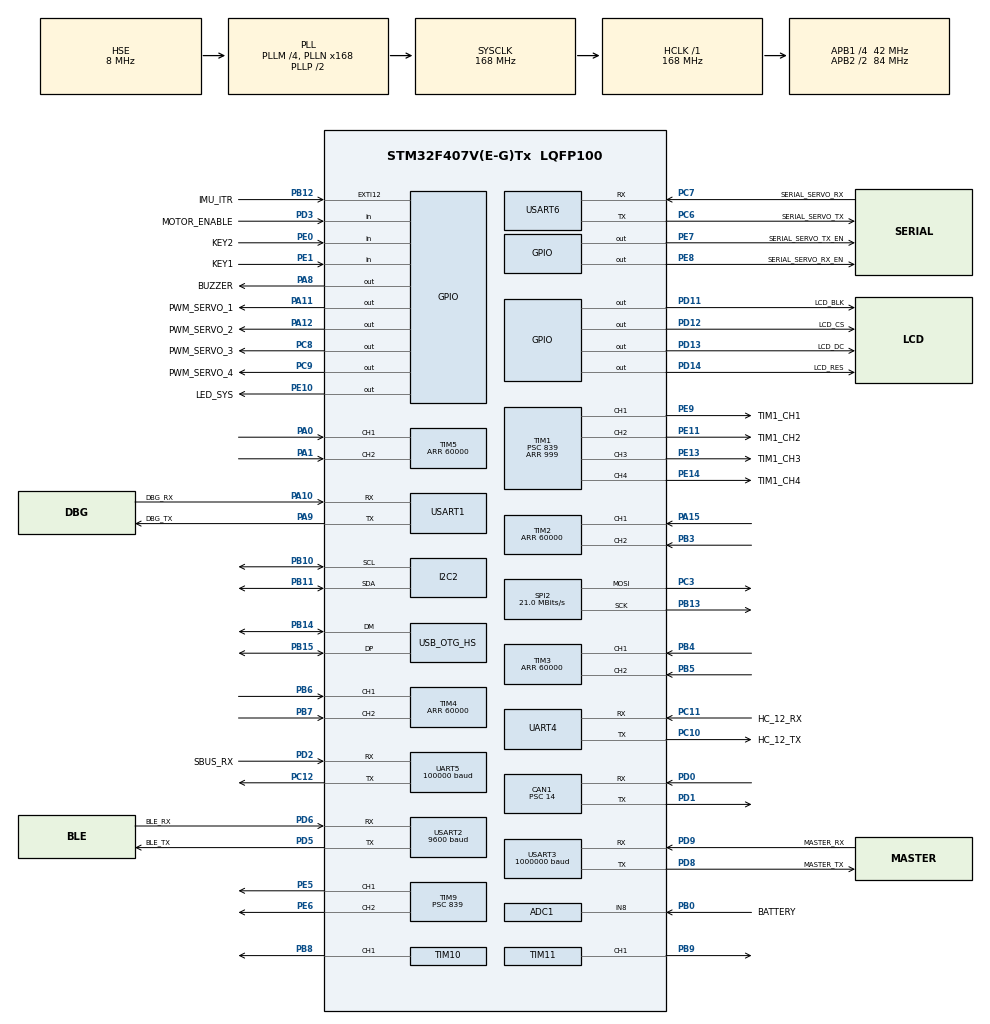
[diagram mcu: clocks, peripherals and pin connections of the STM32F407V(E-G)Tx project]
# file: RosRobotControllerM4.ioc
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ADC1.Channel-4\#ChannelRegularConversion=ADC_CHANNEL_VREFINT
ADC1.Channel-5\#ChannelRegularConversion=ADC_CHANNEL_8
ADC1.ClockPrescaler=ADC_CLOCK_SYNC_PCLK_DIV8
ADC1.ContinuousConvMode=DISABLE
ADC1.EOCSelection=ADC_EOC_SEQ_CONV
ADC1.NbrOfConversion=2
ADC1.NbrOfConversionFlag=1
ADC1.Rank-4\#ChannelRegularConversion=1
ADC1.Rank-5\#ChannelRegularConversion=2
ADC1.SamplingTime-4\#ChannelRegularConversion=ADC_SAMPLETIME_480CYCLES
ADC1.SamplingTime-5\#ChannelRegularConversion=ADC_SAMPLETIME_480CYCLES
ADC1.master=1
CAN1.BS1=CAN_BS1_2TQ
CAN1.BS2=CAN_BS2_3TQ
CAN1.CalculateBaudRate=499999
CAN1.CalculateTimeBit=2000
CAN1.CalculateTimeQuantum=333.33333333333337
CAN1.Prescaler=14
CAN1.SJW=CAN_SJW_2TQ
Dma.ADC1.8.Direction=DMA_PERIPH_TO_MEMORY
Dma.ADC1.8.FIFOMode=DMA_FIFOMODE_DISABLE
Dma.ADC1.8.Instance=DMA2_Stream0
Dma.ADC1.8.MemDataAlignment=DMA_MDATAALIGN_HALFWORD
Dma.ADC1.8.MemInc=DMA_MINC_ENABLE
Dma.ADC1.8.Mode=DMA_CIRCULAR
Dma.ADC1.8.PeriphDataAlignment=DMA_PDATAALIGN_HALFWORD
Dma.ADC1.8.PeriphInc=DMA_PINC_DISABLE
Dma.ADC1.8.Priority=DMA_PRIORITY_LOW
Dma.I2C2_RX.0.Direction=DMA_PERIPH_TO_MEMORY
Dma.I2C2_RX.0.FIFOMode=DMA_FIFOMODE_DISABLE
Dma.I2C2_RX.0.Instance=DMA1_Stream2
Dma.I2C2_RX.0.MemDataAlignment=DMA_MDATAALIGN_BYTE
Dma.I2C2_RX.0.MemInc=DMA_MINC_ENABLE
Dma.I2C2_RX.0.Mode=DMA_NORMAL
Dma.I2C2_RX.0.PeriphDataAlignment=DMA_PDATAALIGN_BYTE
Dma.I2C2_RX.0.PeriphInc=DMA_PINC_DISABLE
Dma.I2C2_RX.0.Priority=DMA_PRIORITY_VERY_HIGH
Dma.I2C2_TX.1.Direction=DMA_MEMORY_TO_PERIPH
Dma.I2C2_TX.1.FIFOMode=DMA_FIFOMODE_DISABLE
Dma.I2C2_TX.1.Instance=DMA1_Stream7
Dma.I2C2_TX.1.MemDataAlignment=DMA_MDATAALIGN_BYTE
Dma.I2C2_TX.1.MemInc=DMA_MINC_ENABLE
Dma.I2C2_TX.1.Mode=DMA_NORMAL
Dma.I2C2_TX.1.PeriphDataAlignment=DMA_PDATAALIGN_BYTE
Dma.I2C2_TX.1.PeriphInc=DMA_PINC_DISABLE
Dma.I2C2_TX.1.Priority=DMA_PRIORITY_VERY_HIGH
Dma.Request0=I2C2_RX
Dma.Request1=I2C2_TX
Dma.Request2=UART5_RX
Dma.Request3=USART3_RX
Dma.Request4=USART3_TX
Dma.Request5=SPI2_TX
Dma.Request6=USART2_RX
Dma.Request7=USART2_TX
Dma.Request8=ADC1
Dma.SPI2_TX.5.Direction=DMA_MEMORY_TO_PERIPH
Dma.SPI2_TX.5.FIFOMode=DMA_FIFOMODE_DISABLE
Dma.SPI2_TX.5.Instance=DMA1_Stream4
Dma.SPI2_TX.5.MemDataAlignment=DMA_MDATAALIGN_BYTE
Dma.SPI2_TX.5.MemInc=DMA_MINC_ENABLE
Dma.SPI2_TX.5.Mode=DMA_NORMAL
Dma.SPI2_TX.5.PeriphDataAlignment=DMA_PDATAALIGN_BYTE
Dma.SPI2_TX.5.PeriphInc=DMA_PINC_DISABLE
Dma.SPI2_TX.5.Priority=DMA_PRIORITY_LOW
Dma.UART5_RX.2.Direction=DMA_PERIPH_TO_MEMORY
Dma.UART5_RX.2.FIFOMode=DMA_FIFOMODE_DISABLE
Dma.UART5_RX.2.Instance=DMA1_Stream0
Dma.UART5_RX.2.MemDataAlignment=DMA_MDATAALIGN_BYTE
Dma.UART5_RX.2.MemInc=DMA_MINC_ENABLE
Dma.UART5_RX.2.Mode=DMA_CIRCULAR
Dma.UART5_RX.2.PeriphDataAlignment=DMA_PDATAALIGN_BYTE
Dma.UART5_RX.2.PeriphInc=DMA_PINC_DISABLE
Dma.UART5_RX.2.Priority=DMA_PRIORITY_MEDIUM
Dma.USART2_RX.6.Direction=DMA_PERIPH_TO_MEMORY
Dma.USART2_RX.6.FIFOMode=DMA_FIFOMODE_DISABLE
Dma.USART2_RX.6.Instance=DMA1_Stream5
Dma.USART2_RX.6.MemDataAlignment=DMA_MDATAALIGN_BYTE
Dma.USART2_RX.6.MemInc=DMA_MINC_ENABLE
Dma.USART2_RX.6.Mode=DMA_NORMAL
Dma.USART2_RX.6.PeriphDataAlignment=DMA_PDATAALIGN_BYTE
Dma.USART2_RX.6.PeriphInc=DMA_PINC_DISABLE
Dma.USART2_RX.6.Priority=DMA_PRIORITY_MEDIUM
Dma.USART2_TX.7.Direction=DMA_MEMORY_TO_PERIPH
Dma.USART2_TX.7.FIFOMode=DMA_FIFOMODE_DISABLE
Dma.USART2_TX.7.Instance=DMA1_Stream6
Dma.USART2_TX.7.MemDataAlignment=DMA_MDATAALIGN_BYTE
Dma.USART2_TX.7.MemInc=DMA_MINC_ENABLE
Dma.USART2_TX.7.Mode=DMA_NORMAL
Dma.USART2_TX.7.PeriphDataAlignment=DMA_PDATAALIGN_BYTE
Dma.USART2_TX.7.PeriphInc=DMA_PINC_DISABLE
Dma.USART2_TX.7.Priority=DMA_PRIORITY_MEDIUM
Dma.USART3_RX.3.Direction=DMA_PERIPH_TO_MEMORY
Dma.USART3_RX.3.FIFOMode=DMA_FIFOMODE_DISABLE
Dma.USART3_RX.3.Instance=DMA1_Stream1
Dma.USART3_RX.3.MemDataAlignment=DMA_MDATAALIGN_BYTE
Dma.USART3_RX.3.MemInc=DMA_MINC_ENABLE
Dma.USART3_RX.3.Mode=DMA_CIRCULAR
Dma.USART3_RX.3.PeriphDataAlignment=DMA_PDATAALIGN_BYTE
Dma.USART3_RX.3.PeriphInc=DMA_PINC_DISABLE
Dma.USART3_RX.3.Priority=DMA_PRIORITY_HIGH
Dma.USART3_TX.4.Direction=DMA_MEMORY_TO_PERIPH
Dma.USART3_TX.4.FIFOMode=DMA_FIFOMODE_DISABLE
Dma.USART3_TX.4.Instance=DMA1_Stream3
Dma.USART3_TX.4.MemDataAlignment=DMA_MDATAALIGN_BYTE
Dma.USART3_TX.4.MemInc=DMA_MINC_ENABLE
Dma.USART3_TX.4.Mode=DMA_NORMAL
Dma.USART3_TX.4.PeriphDataAlignment=DMA_PDATAALIGN_BYTE
Dma.USART3_TX.4.PeriphInc=DMA_PINC_DISABLE
Dma.USART3_TX.4.Priority=DMA_PRIORITY_HIGH
FREERTOS.BinarySemaphores01=packet_tx_idle,Static,packet_tx_ControlBlock;packet_rx_not_empty,Static,packet_rx_not_emptyControlBlock;mpu6050_data_ready,Static,mpu6050_data_readyControlBlock;sbus_data_ready_01_,Static,sbus_data_ready_01_ControlBlock;spi_tx_finished,Static,spi_tx_finishedControlBlock;bluetooth_tx_idle,Static,bluetooth_tx_idleControlBlock
FREERTOS.Events01=sbus_data_ready_event_,Static,sbus_data_ready_event_ControlBlock
FREERTOS.INCLUDE_vTaskCleanUpResources=1
FREERTOS.INCLUDE_xEventGroupSetBitFromISR=1
FREERTOS.Queues01=packet_tx_queue,64,void*,0,Static,packet_tx_queueBuffer,packet_tx_queueControlBlock;lvgl_event_queue,16,void*,0,Static,lvgl_event_queueBuffer,lvgl_event_queueControlBlock;moving_ctrl_queue,32,char,0,Static,moving_ctrl_queueBuffer,moving_ctrl_queueControlBlock;bluetooth_tx_queue,8,8,1,Static,bluetooth_tx_queueBuffer,bluetooth_tx_queueControlBlock
FREERTOS.Tasks01=defaultTask,8,128,StartDefaultTask,Default,NULL,Static,defaultTaskBuffer,defaultTaskControlBlock;imu_task,32,128,imu_task_entry,As weak,NULL,Static,imu_taskBuffer,imu_taskControlBlock;packet_tx_task,24,128,packet_tx_task_entry,As weak,NULL,Static,packet_tx_taskBuffer,packet_tx_taskControlBlock;packet_rx_task,24,256,packet_rx_task_entry,As weak,NULL,Static,packet_rx_taskBuffer,packet_rx_taskControlBlock;sbus_rx_task,24,128,sbus_rx_task_entry,As weak,NULL,Static,sbus_rx_taskBuffer,sbus_rx_taskControlBlock;gui_task,16,512,gui_task_entry,As weak,NULL,Static,gui_taskBuffer,gui_taskControlBlock;app_task,24,512,app_task_entry,As weak,NULL,Static,app_taskBuffer,app_taskControlBlock;bluetooth_task,24,128,bluetooth_task_entry,As weak,NULL,Static,bluetooth_taskBuffer,bluetooth_taskControlBlock
FREERTOS.Timers01=button_timer,button_timer_callback,osTimerPeriodic,As weak,NULL,Static,button_timerControlBlock;led_timer,led_timer_callback,osTimerPeriodic,As weak,NULL,Static,led_timerControlBlock;lvgl_timer,lvgl_timer_callback,osTimerPeriodic,As weak,NULL,Static,lvgl_timerControlBlock;buzzer_timer,buzzer_timer_callback,osTimerPeriodic,As weak,NULL,Static,buzzer_timerControlBlock;battery_check_timer,battery_check_timer_callback,osTimerPeriodic,As weak,NULL,Static,battery_check_timerControlBlock;IMU_read_timer,IMU_read_timer_callback,osTimerPeriodic,As weak,NULL,Static,IMU_read_timerControlBlock
FREERTOS.configENABLE_FPU=1
FREERTOS.configTIMER_QUEUE_LENGTH=10
FREERTOS.configTIMER_TASK_STACK_DEPTH=6144
FREERTOS.configTOTAL_HEAP_SIZE=12288
FREERTOS.configUSE_IDLE_HOOK=1
FREERTOS.configUSE_NEWLIB_REENTRANT=0
FREERTOS.configUSE_TICK_HOOK=1
I2C2.DutyCycle=I2C_DUTYCYCLE_16_9
I2C2.I2C_Mode=I2C_Fast
Mcu.Family=STM32F4
Mcu.Name=STM32F407V(E-G)Tx
Mcu.Package=LQFP100
NVIC.CAN1_RX0_IRQn=true\:5\:0\:false\:false\:true\:true\:true\:true\:true
NVIC.DMA1_Stream0_IRQn=true\:5\:0\:false\:true\:true\:1\:true\:false\:true\:true
NVIC.DMA1_Stream1_IRQn=true\:5\:0\:false\:true\:true\:2\:true\:false\:true\:true
NVIC.DMA1_Stream2_IRQn=true\:5\:0\:false\:true\:true\:3\:true\:false\:true\:true
NVIC.DMA1_Stream3_IRQn=true\:5\:0\:false\:true\:true\:4\:true\:false\:true\:true
NVIC.DMA1_Stream4_IRQn=true\:5\:0\:false\:false\:true\:true\:true\:true\:true
NVIC.DMA1_Stream5_IRQn=true\:5\:0\:false\:false\:true\:true\:true\:true\:true
NVIC.DMA1_Stream6_IRQn=true\:5\:0\:false\:false\:true\:true\:true\:true\:true
NVIC.DMA1_Stream7_IRQn=true\:5\:0\:false\:true\:true\:9\:true\:false\:true\:true
NVIC.EXTI15_10_IRQn=true\:5\:0\:false\:true\:true\:7\:true\:true\:false\:true
NVIC.OTG_HS_IRQn=true\:5\:0\:false\:false\:true\:true\:false\:true\:true
NVIC.PriorityGroup=NVIC_PRIORITYGROUP_4
NVIC.TIM2_IRQn=true\:5\:0\:false\:false\:true\:true\:true\:false\:true
NVIC.TIM3_IRQn=true\:5\:0\:false\:false\:true\:true\:true\:false\:true
NVIC.TIM4_IRQn=true\:5\:0\:false\:false\:true\:true\:true\:false\:true
NVIC.TIM5_IRQn=true\:5\:0\:false\:true\:true\:10\:true\:true\:false\:true
NVIC.TIM7_IRQn=true\:5\:0\:false\:true\:true\:12\:true\:true\:false\:true
NVIC.TIM8_BRK_TIM12_IRQn=true\:5\:0\:false\:false\:true\:true\:true\:false\:true
NVIC.TIM8_TRG_COM_TIM14_IRQn=true\:0\:0\:false\:false\:true\:false\:false\:true\:true
NVIC.TIM8_UP_TIM13_IRQn=true\:5\:0\:false\:true\:true\:8\:true\:true\:false\:true
NVIC.TimeBase=TIM8_TRG_COM_TIM14_IRQn
NVIC.TimeBaseIP=TIM14
NVIC.UART5_IRQn=true\:5\:0\:true\:true\:true\:11\:true\:true\:true\:true
NVIC.USART2_IRQn=true\:5\:0\:false\:true\:true\:5\:true\:true\:true\:true
NVIC.USART3_IRQn=true\:5\:0\:false\:true\:true\:6\:true\:true\:true\:true
NVIC.USART6_IRQn=true\:5\:0\:false\:true\:true\:13\:true\:true\:true\:true
PA0-WKUP.GPIO_PuPd=GPIO_PULLUP
PA0-WKUP.GPIO_Speed=GPIO_SPEED_FREQ_VERY_HIGH
PA0-WKUP.Signal=S_TIM5_CH1
PA1.GPIO_PuPd=GPIO_PULLUP
PA1.GPIO_Speed=GPIO_SPEED_FREQ_VERY_HIGH
PA1.Signal=S_TIM5_CH2
PA10.GPIO_Label=DBG_RX
PA10.Mode=Asynchronous
PA10.Signal=USART1_RX
PA11.GPIO_Label=PWM_SERVO_1
PA11.GPIO_Speed=GPIO_SPEED_FREQ_HIGH
PA11.PinState=GPIO_PIN_RESET
PA11.Signal=GPIO_Output
PA12.GPIO_Label=PWM_SERVO_2
PA12.GPIO_Speed=GPIO_SPEED_FREQ_HIGH
PA12.Signal=GPIO_Output
PA13.Signal=SYS_JTMS-SWDIO
PA14.Signal=SYS_JTCK-SWCLK
PA15.GPIO_PuPd=GPIO_PULLUP
PA15.GPIO_Speed=GPIO_SPEED_FREQ_VERY_HIGH
PA15.Signal=S_TIM2_CH1_ETR
PA8.GPIO_Label=BUZZER
PA8.GPIO_Speed=GPIO_SPEED_FREQ_VERY_HIGH
PA8.PinState=GPIO_PIN_RESET
PA8.Signal=GPIO_Output
PA9.GPIO_Label=DBG_TX
PA9.Mode=Asynchronous
PA9.Signal=USART1_TX
PB0.GPIO_Label=BATTERY
PB0.Signal=ADCx_IN8
PB10.GPIO_Pu=GPIO_PULLUP
PB10.Mode=I2C
PB10.Signal=I2C2_SCL
PB11.GPIO_Pu=GPIO_PULLUP
PB11.Mode=I2C
PB11.Signal=I2C2_SDA
PB12.GPIO_Label=IMU_ITR
PB12.Signal=GPXTI12
PB13.Mode=TX_Only_Simplex_Unidirect_Master
PB13.Signal=SPI2_SCK
PB14.Mode=Host_FS
PB14.Signal=USB_OTG_HS_DM
PB15.Mode=Host_FS
PB15.Signal=USB_OTG_HS_DP
PB3.GPIO_PuPd=GPIO_PULLUP
PB3.GPIO_Speed=GPIO_SPEED_FREQ_VERY_HIGH
PB3.Signal=S_TIM2_CH2
PB4.GPIO_Speed=GPIO_SPEED_FREQ_VERY_HIGH
PB4.Signal=S_TIM3_CH1
PB5.GPIO_Speed=GPIO_SPEED_FREQ_VERY_HIGH
PB5.Signal=S_TIM3_CH2
PB6.Signal=S_TIM4_CH1
PB7.Signal=S_TIM4_CH2
PB8.Signal=S_TIM10_CH1
PB9.GPIO_Speed=GPIO_SPEED_FREQ_HIGH
PB9.Signal=S_TIM11_CH1
PC10.GPIO_Label=HC_12_TX
PC10.Mode=Asynchronous
PC10.Signal=UART4_TX
PC11.GPIO_Label=HC_12_RX
PC11.Mode=Asynchronous
PC11.Signal=UART4_RX
PC12.Mode=Asynchronous
PC12.Signal=UART5_TX
PC3.Mode=TX_Only_Simplex_Unidirect_Master
PC3.Signal=SPI2_MOSI
PC6.GPIO_Label=SERIAL_SERVO_TX
PC6.Mode=Asynchronous
PC6.Signal=USART6_TX
PC7.GPIO_Label=SERIAL_SERVO_RX
PC7.Mode=Asynchronous
PC7.Signal=USART6_RX
PC8.GPIO_Label=PWM_SERVO_3
PC8.GPIO_Speed=GPIO_SPEED_FREQ_HIGH
PC8.PinState=GPIO_PIN_SET
PC8.Signal=GPIO_Output
PC9.GPIO_Label=PWM_SERVO_4
PC9.GPIO_Speed=GPIO_SPEED_FREQ_HIGH
PC9.Signal=GPIO_Output
PD0.GPIO_PuPd=GPIO_PULLUP
PD0.Mode=CAN_Activate
PD0.Signal=CAN1_RX
PD1.Mode=CAN_Activate
PD1.Signal=CAN1_TX
PD11.GPIO_Label=LCD_BLK
PD11.GPIO_Speed=GPIO_SPEED_FREQ_VERY_HIGH
PD11.PinState=GPIO_PIN_SET
PD11.Signal=GPIO_Output
PD12.GPIO_Label=LCD_CS
PD12.GPIO_Speed=GPIO_SPEED_FREQ_VERY_HIGH
PD12.PinState=GPIO_PIN_SET
PD12.Signal=GPIO_Output
PD13.GPIO_Label=LCD_DC
PD13.GPIO_Speed=GPIO_SPEED_FREQ_VERY_HIGH
PD13.Signal=GPIO_Output
PD14.GPIO_Label=LCD_RES
PD14.GPIO_Speed=GPIO_SPEED_FREQ_VERY_HIGH
PD14.PinState=GPIO_PIN_SET
PD14.Signal=GPIO_Output
PD2.GPIO_Label=SBUS_RX
PD2.Mode=Asynchronous
PD2.Signal=UART5_RX
PD3.GPIO_Label=MOTOR_ENABLE
PD3.Signal=GPIO_Input
PD5.GPIO_Label=BLE_TX
PD5.Mode=Asynchronous
PD5.Signal=USART2_TX
PD6.GPIO_Label=BLE_RX
PD6.Mode=Asynchronous
PD6.Signal=USART2_RX
PD8.GPIO_Label=MASTER_TX
PD8.GPIO_PuPd=GPIO_NOPULL
PD8.Mode=Asynchronous
PD8.Signal=USART3_TX
PD9.GPIO_Label=MASTER_RX
PD9.GPIO_PuPd=GPIO_NOPULL
PD9.Mode=Asynchronous
PD9.Signal=USART3_RX
PE0.GPIO_Label=KEY2
PE0.Signal=GPIO_Input
PE1.GPIO_Label=KEY1
PE1.Signal=GPIO_Input
PE10.GPIO_Label=LED_SYS
PE10.GPIO_Speed=GPIO_SPEED_FREQ_MEDIUM
PE10.PinState=GPIO_PIN_SET
PE10.Signal=GPIO_Output
PE11.GPIO_Label=TIM1_CH2
PE11.GPIO_Speed=GPIO_SPEED_FREQ_HIGH
PE11.Signal=S_TIM1_CH2
PE13.GPIO_Label=TIM1_CH3
PE13.GPIO_Speed=GPIO_SPEED_FREQ_HIGH
PE13.Signal=S_TIM1_CH3
PE14.GPIO_Label=TIM1_CH4
PE14.GPIO_Speed=GPIO_SPEED_FREQ_HIGH
PE14.Signal=S_TIM1_CH4
PE5.Signal=S_TIM9_CH1
PE6.Signal=S_TIM9_CH2
PE7.GPIO_Label=SERIAL_SERVO_TX_EN
PE7.GPIO_Speed=GPIO_SPEED_FREQ_VERY_HIGH
PE7.Signal=GPIO_Output
PE8.GPIO_Label=SERIAL_SERVO_RX_EN
PE8.GPIO_Speed=GPIO_SPEED_FREQ_VERY_HIGH
PE8.Signal=GPIO_Output
PE9.GPIO_Label=TIM1_CH1
PE9.GPIO_Speed=GPIO_SPEED_FREQ_HIGH
PE9.Signal=S_TIM1_CH1
PH0-OSC_IN.Mode=HSE-External-Oscillator
PH0-OSC_IN.Signal=RCC_OSC_IN
PH1-OSC_OUT.Mode=HSE-External-Oscillator
PH1-OSC_OUT.Signal=RCC_OSC_OUT
ProjectManager.HeapSize=0x200
ProjectManager.StackSize=0x600
ProjectManager.TargetToolchain=MDK-ARM V5.32
RCC.48MHZClocksFreq_Value=48000000
RCC.AHBFreq_Value=168000000
RCC.APB1CLKDivider=RCC_HCLK_DIV4
RCC.APB1Freq_Value=42000000
RCC.APB1TimFreq_Value=84000000
RCC.APB2CLKDivider=RCC_HCLK_DIV2
RCC.APB2Freq_Value=84000000
RCC.APB2TimFreq_Value=168000000
RCC.CortexFreq_Value=168000000
RCC.EnbaleCSS=true
RCC.HCLKFreq_Value=168000000
RCC.HSE_VALUE=8000000
RCC.HSI_VALUE=16000000
RCC.LSE_VALUE=32768
RCC.PLLM=4
RCC.PLLN=168
RCC.PLLQ=7
RCC.SYSCLKFreq_VALUE=168000000
RCC.SYSCLKSource=RCC_SYSCLKSOURCE_PLLCLK
RCC.VCOOutputFreq_Value=336000000
SH.ADCx_IN8.0=ADC1_IN8,IN8
SH.S_TIM10_CH1.0=TIM10_CH1,PWM Generation1 CH1
SH.S_TIM11_CH1.0=TIM11_CH1,PWM Generation1 CH1
SH.S_TIM1_CH1.0=TIM1_CH1,PWM Generation1 CH1
SH.S_TIM1_CH2.0=TIM1_CH2,PWM Generation2 CH2
SH.S_TIM1_CH3.0=TIM1_CH3,PWM Generation3 CH3
SH.S_TIM1_CH4.0=TIM1_CH4,PWM Generation4 CH4
SH.S_TIM2_CH1_ETR.0=TIM2_CH1,Encoder_Interface
SH.S_TIM2_CH2.0=TIM2_CH2,Encoder_Interface
SH.S_TIM3_CH1.0=TIM3_CH1,Encoder_Interface
SH.S_TIM3_CH2.0=TIM3_CH2,Encoder_Interface
SH.S_TIM4_CH1.0=TIM4_CH1,Encoder_Interface
SH.S_TIM4_CH2.0=TIM4_CH2,Encoder_Interface
SH.S_TIM5_CH1.0=TIM5_CH1,Encoder_Interface
SH.S_TIM5_CH2.0=TIM5_CH2,Encoder_Interface
SH.S_TIM9_CH1.0=TIM9_CH1,PWM Generation1 CH1
SH.S_TIM9_CH2.0=TIM9_CH2,PWM Generation2 CH2
SPI2.BaudRatePrescaler=SPI_BAUDRATEPRESCALER_2
SPI2.CLKPhase=SPI_PHASE_1EDGE
SPI2.CLKPolarity=SPI_POLARITY_LOW
SPI2.CalculateBaudRate=21.0 MBits/s
SPI2.DataSize=SPI_DATASIZE_8BIT
SPI2.Direction=SPI_DIRECTION_2LINES
SPI2.FirstBit=SPI_FIRSTBIT_MSB
SPI2.Mode=SPI_MODE_MASTER
SPI2.VirtualType=VM_MASTER
TIM1.AutoReloadPreload=TIM_AUTORELOAD_PRELOAD_ENABLE
TIM1.Channel-PWM\ Generation1\ CH1=TIM_CHANNEL_1
TIM1.Channel-PWM\ Generation2\ CH2=TIM_CHANNEL_2
TIM1.Channel-PWM\ Generation3\ CH3=TIM_CHANNEL_3
TIM1.Channel-PWM\ Generation4\ CH4=TIM_CHANNEL_4
TIM1.OCFastMode_PWM-PWM\ Generation1\ CH1=TIM_OCFAST_ENABLE
TIM1.OCFastMode_PWM-PWM\ Generation2\ CH2=TIM_OCFAST_ENABLE
TIM1.OCFastMode_PWM-PWM\ Generation3\ CH3=TIM_OCFAST_ENABLE
TIM1.OCFastMode_PWM-PWM\ Generation4\ CH4=TIM_OCFAST_ENABLE
TIM1.Period=999
TIM1.Prescaler=839
TIM1.Pulse-PWM\ Generation1\ CH1=0
TIM1.Pulse-PWM\ Generation2\ CH2=0
TIM1.Pulse-PWM\ Generation3\ CH3=0
TIM1.Pulse-PWM\ Generation4\ CH4=0
TIM10.AutoReloadPreload=TIM_AUTORELOAD_PRELOAD_ENABLE
TIM10.Channel=TIM_CHANNEL_1
TIM10.OCFastMode_PWM=TIM_OCFAST_ENABLE
TIM10.Period=999
TIM10.Prescaler=839
TIM11.AutoReloadPreload=TIM_AUTORELOAD_PRELOAD_ENABLE
TIM11.Channel=TIM_CHANNEL_1
TIM11.OCFastMode_PWM=TIM_OCFAST_ENABLE
TIM11.Period=999
TIM11.Prescaler=839
TIM11.Pulse=0
TIM12.AutoReloadPreload=TIM_AUTORELOAD_PRELOAD_ENABLE
TIM12.Channel-Output\ Compare1\ No\ Output=TIM_CHANNEL_1
TIM12.OC1Preload=ENABLE
TIM12.OCMode_1=TIM_OCMODE_TIMING
TIM12.Period=99
TIM12.Prescaler=839
TIM12.Pulse-Output\ Compare1\ No\ Output=50
TIM13.AutoReloadPreload=TIM_AUTORELOAD_PRELOAD_ENABLE
TIM13.Channel=TIM_CHANNEL_1
TIM13.OC1Preload=DISABLE
TIM13.Period=4999
TIM13.Prescaler=83
TIM13.Pulse=0
TIM2.AutoReloadPreload=TIM_AUTORELOAD_PRELOAD_ENABLE
TIM2.EncoderMode=TIM_ENCODERMODE_TI12
TIM2.Period=60000
TIM3.AutoReloadPreload=TIM_AUTORELOAD_PRELOAD_ENABLE
TIM3.EncoderMode=TIM_ENCODERMODE_TI12
TIM3.Period=60000
TIM4.AutoReloadPreload=TIM_AUTORELOAD_PRELOAD_ENABLE
TIM4.EncoderMode=TIM_ENCODERMODE_TI12
TIM4.Period=60000
TIM5.AutoReloadPreload=TIM_AUTORELOAD_PRELOAD_ENABLE
TIM5.EncoderMode=TIM_ENCODERMODE_TI12
TIM5.Period=60000
TIM7.AutoReloadPreload=TIM_AUTORELOAD_PRELOAD_ENABLE
TIM7.Period=9999
TIM7.Prescaler=83
TIM9.AutoReloadPreload=TIM_AUTORELOAD_PRELOAD_ENABLE
TIM9.Channel-PWM\ Generation1\ CH1=TIM_CHANNEL_1
TIM9.Channel-PWM\ Generation2\ CH2=TIM_CHANNEL_2
TIM9.OCFastMode_PWM-PWM\ Generation1\ CH1=TIM_OCFAST_ENABLE
TIM9.OCFastMode_PWM-PWM\ Generation2\ CH2=TIM_OCFAST_ENABLE
TIM9.Period=999
TIM9.Prescaler=839
UART4.VirtualMode=Asynchronous
UART5.BaudRate=100000
UART5.Mode=MODE_RX
UART5.Parity=PARITY_EVEN
UART5.StopBits=UART_STOPBITS_2
UART5.VirtualMode=Asynchronous
UART5.WordLength=WORDLENGTH_9B
USART1.VirtualMode=VM_ASYNC
USART2.BaudRate=9600
USART2.VirtualMode=VM_ASYNC
USART3.BaudRate=1000000
USART3.VirtualMode=VM_ASYNC
USART6.VirtualMode=VM_ASYNC
USB_HOST.USBH_DEBUG_LEVEL-HID_HS=0
USB_HOST.USBH_HandleTypeDef-HID_HS=hUsbHostHS
USB_HOST.USBH_KEEP_CFG_DESCRIPTOR-HID_HS=1
USB_HOST.USBH_MAX_DATA_BUFFER-HID_HS=512
USB_HOST.USBH_MAX_NUM_CONFIGURATION-HID_HS=2
USB_HOST.USBH_MAX_NUM_ENDPOINTS-HID_HS=2
USB_HOST.USBH_MAX_NUM_INTERFACES-HID_HS=2
USB_HOST.USBH_MAX_NUM_SUPPORTED_CLASS-HID_HS=1
USB_HOST.USBH_MAX_SIZE_CONFIGURATION-HID_HS=512
USB_HOST.USBH_PROCESS_PRIO-HID_HS=osPriorityNormal
USB_HOST.USBH_PROCESS_STACK_SIZE-HID_HS=2048
USB_HOST.VirtualModeHS=Hid
USB_OTG_HS.Sof_enable-Host_FS=DISABLE
USB_OTG_HS.VirtualMode-Host_FS=Host_FS
USB_OTG_HS.dma_enable-Host_FS=DISABLE
VP_ADC1_Vref_Input.Mode=IN-Vrefint
VP_CRC_VS_CRC.Mode=CRC_Activate
VP_FREERTOS_VS_CMSIS_V2.Mode=CMSIS_V2
VP_SYS_VS_tim14.Mode=TIM14
VP_TIM10_VS_ClockSourceINT.Mode=Enable_Timer
VP_TIM11_VS_ClockSourceINT.Mode=Enable_Timer
VP_TIM12_VS_ClockSourceINT.Mode=Internal
VP_TIM12_VS_no_output1.Mode=Output Compare1 No Output
VP_TIM13_VS_ClockSourceINT.Mode=Enable_Timer
VP_TIM13_VS_no_output1.Mode=Output Compare1 No Output
VP_TIM1_VS_ClockSourceINT.Mode=Internal
VP_TIM7_VS_ClockSourceINT.Mode=Enable_Timer
VP_TIM9_VS_ClockSourceINT.Mode=Internal
VP_USB_HOST_VS_USB_HOST_HID_HS.Mode=HID_HS
board=custom

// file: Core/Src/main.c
/* USER CODE BEGIN Header */
/**
  ******************************************************************************
  * @file           : main.c
  * @brief          : Main program body
  ******************************************************************************
  * @attention
  *
  * <h2><center>&copy; Copyright (c) 2023 STMicroelectronics.
  * All rights reserved.</center></h2>
  *
  * This software component is licensed by ST under BSD 3-Clause license,
  * the "License"; You may not use this file except in compliance with the
  * License. You may obtain a copy of the License at:
  *                        opensource.org/licenses/BSD-3-Clause
  *
  * ********************************************
  *   main() function, microcontroller entry function
  *
  *   ! ! ! Notice
  *   This project uses the FreeRTOS system
  *   The user's entry function is in the app_task_entry() thread task in the app.c file in the Hiwonder/System folder.
  *   If you need other thread tasks, you need to create other threads (it is recommended to create them in the STM32CubeMX software)
  *
  *   ! ! ! Notice
  *   In the file created in CubeMX,
  *   The user program and comments need to be written in the middle of the following comments to prevent the user program
  *   from being overwritten after changing the configuration using CubeMX. !!!
  *   (If you do not use CubeMX software, you can skip this step.)
  *
  *   / * USER CODE BEGIN xxx * /
  *   //User Programs
  *   / * USER CODE END xxx * /
  *
  *
  * ********************************************
  *
  ******************************************************************************
  */
/* USER CODE END Header */
#include "main.h"
#include "cmsis_os.h"
#include "adc.h"
#include "can.h"
#include "crc.h"
#include "dma.h"
#include "i2c.h"
#include "spi.h"
#include "tim.h"
#include "usart.h"
#include "usb_host.h"
#include "gpio.h"

/* USER CODE BEGIN Includes */
#include "lwmem_porting.h"
#include "log.h"
#include <stdio.h>
/* USER CODE END Includes */

void SystemClock_Config(void);
void MX_FREERTOS_Init(void);
static void MX_NVIC_Init(void);

int main(void)
{
  /* USER CODE BEGIN 1 */
  //��־��ӡ���ܳ�ʼ��
  LOG_INIT();
  lwmem_assignmem(lwmem_regions);  /* ��̬�ڴ��ʼ�� */
  /* USER CODE END 1 */

  /* MCU Configuration--------------------------------------------------------*/

  /* Reset of all peripherals, Initializes the Flash interface and the Systick. */
  HAL_Init();

  /* Configure the system clock */
  SystemClock_Config();

  /* USER CODE BEGIN SysInit */
    //����IIC1
    __HAL_RCC_I2C1_CLK_ENABLE();
    //����DMA����
    __HAL_RCC_DMA1_CLK_ENABLE();
  /* USER CODE END SysInit */

  /* Initialize all configured peripherals */
  MX_GPIO_Init();
  MX_DMA_Init();
  MX_USART1_UART_Init();
  MX_SPI2_Init();
  MX_TIM1_Init();
  MX_TIM2_Init();
  MX_TIM5_Init();
  MX_TIM9_Init();
  MX_TIM10_Init();
  MX_TIM11_Init();
  MX_I2C2_Init();
  MX_UART5_Init();
  MX_USART2_UART_Init();
  MX_USART3_UART_Init();
  MX_USART6_UART_Init();
  MX_TIM7_Init();
  MX_TIM3_Init();
  MX_TIM4_Init();
  MX_TIM13_Init();
  MX_CRC_Init();
  MX_TIM12_Init();
  MX_ADC1_Init();
  MX_UART4_Init();

  MX_CAN1_Init();

  /* Initialize interrupts */
  MX_NVIC_Init();
  /* USER CODE BEGIN 2 */
  //��ӡ��Ϣ����printf()�������÷�һ�����ܹ����ݵȼ�����������־���
  LOG_DEBUG("Start...\r\n");
  /* USER CODE END 2 */

  /* Init scheduler */
  osKernelInitialize();  /* Call init function for freertos objects (in freertos.c) */
  MX_FREERTOS_Init();

  /* Start scheduler */
  osKernelStart();
  /* We should never get here as control is now taken by the scheduler */
  /* Infinite loop */
    while (1) {

    }
}

void SystemClock_Config(void)
{
  RCC_OscInitTypeDef RCC_OscInitStruct = {0};
  RCC_ClkInitTypeDef RCC_ClkInitStruct = {0};

  /** Configure the main internal regulator output voltage
  */
  __HAL_RCC_PWR_CLK_ENABLE();
  __HAL_PWR_VOLTAGESCALING_CONFIG(PWR_REGULATOR_VOLTAGE_SCALE1);

  /** Initializes the RCC Oscillators according to the specified parameters
  * in the RCC_OscInitTypeDef structure.
  */
  RCC_OscInitStruct.OscillatorType = RCC_OSCILLATORTYPE_HSE;
  RCC_OscInitStruct.HSEState = RCC_HSE_ON;
  RCC_OscInitStruct.PLL.PLLState = RCC_PLL_ON;
  RCC_OscInitStruct.PLL.PLLSource = RCC_PLLSOURCE_HSE;
  RCC_OscInitStruct.PLL.PLLM = 4;
  RCC_OscInitStruct.PLL.PLLN = 168;
  RCC_OscInitStruct.PLL.PLLP = RCC_PLLP_DIV2;
  RCC_OscInitStruct.PLL.PLLQ = 7;
  if (HAL_RCC_OscConfig(&RCC_OscInitStruct) != HAL_OK)
  {
    Error_Handler();
  }

  /** Initializes the CPU, AHB and APB buses clocks
  */
  RCC_ClkInitStruct.ClockType = RCC_CLOCKTYPE_HCLK|RCC_CLOCKTYPE_SYSCLK
                              |RCC_CLOCKTYPE_PCLK1|RCC_CLOCKTYPE_PCLK2;
  RCC_ClkInitStruct.SYSCLKSource = RCC_SYSCLKSOURCE_PLLCLK;
  RCC_ClkInitStruct.AHBCLKDivider = RCC_SYSCLK_DIV1;
  RCC_ClkInitStruct.APB1CLKDivider = RCC_HCLK_DIV4;
  RCC_ClkInitStruct.APB2CLKDivider = RCC_HCLK_DIV2;

  if (HAL_RCC_ClockConfig(&RCC_ClkInitStruct, FLASH_LATENCY_5) != HAL_OK)
  {
    Error_Handler();
  }

  /** Enables the Clock Security System
  */
  HAL_RCC_EnableCSS();
}

/**
  * @brief NVIC Configuration.
  * @retval None
  */
static void MX_NVIC_Init(void)
{
  /* DMA1_Stream0_IRQn interrupt configuration */
  HAL_NVIC_SetPriority(DMA1_Stream0_IRQn, 5, 0);
  HAL_NVIC_EnableIRQ(DMA1_Stream0_IRQn);
  /* DMA1_Stream1_IRQn interrupt configuration */
  HAL_NVIC_SetPriority(DMA1_Stream1_IRQn, 5, 0);
  HAL_NVIC_EnableIRQ(DMA1_Stream1_IRQn);
  /* DMA1_Stream2_IRQn interrupt configuration */
  HAL_NVIC_SetPriority(DMA1_Stream2_IRQn, 5, 0);
  HAL_NVIC_EnableIRQ(DMA1_Stream2_IRQn);
  /* DMA1_Stream3_IRQn interrupt configuration */
  HAL_NVIC_SetPriority(DMA1_Stream3_IRQn, 5, 0);
  HAL_NVIC_EnableIRQ(DMA1_Stream3_IRQn);
  /* USART2_IRQn interrupt configuration */
  HAL_NVIC_SetPriority(USART2_IRQn, 5, 0);
  HAL_NVIC_EnableIRQ(USART2_IRQn);
  /* USART3_IRQn interrupt configuration */
  HAL_NVIC_SetPriority(USART3_IRQn, 5, 0);
  HAL_NVIC_EnableIRQ(USART3_IRQn);
  /* EXTI15_10_IRQn interrupt configuration */
  HAL_NVIC_SetPriority(EXTI15_10_IRQn, 5, 0);
  HAL_NVIC_EnableIRQ(EXTI15_10_IRQn);
  /* TIM8_UP_TIM13_IRQn interrupt configuration */
  HAL_NVIC_SetPriority(TIM8_UP_TIM13_IRQn, 5, 0);
  HAL_NVIC_EnableIRQ(TIM8_UP_TIM13_IRQn);
  /* DMA1_Stream7_IRQn interrupt configuration */
  HAL_NVIC_SetPriority(DMA1_Stream7_IRQn, 5, 0);
  HAL_NVIC_EnableIRQ(DMA1_Stream7_IRQn);
  /* TIM5_IRQn interrupt configuration */
  HAL_NVIC_SetPriority(TIM5_IRQn, 5, 0);
  HAL_NVIC_EnableIRQ(TIM5_IRQn);
  /* UART5_IRQn interrupt configuration */
  HAL_NVIC_SetPriority(UART5_IRQn, 5, 0);
  HAL_NVIC_EnableIRQ(UART5_IRQn);
  /* TIM7_IRQn interrupt configuration */
  HAL_NVIC_SetPriority(TIM7_IRQn, 5, 0);
  HAL_NVIC_EnableIRQ(TIM7_IRQn);
  /* USART6_IRQn interrupt configuration */
  HAL_NVIC_SetPriority(USART6_IRQn, 5, 0);
  HAL_NVIC_EnableIRQ(USART6_IRQn);
}

void HAL_TIM_PeriodElapsedCallback(TIM_HandleTypeDef *htim)
{
  if (htim->Instance == TIM14) {
    HAL_IncTick();
  }
}

void Error_Handler(void)
{
    __disable_irq();
    while (1) {
    }
}

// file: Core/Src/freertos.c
/* USER CODE BEGIN Header */
/**
  ******************************************************************************
  * File Name          : freertos.c
  * Description        : Code for freertos applications
  ******************************************************************************
  * @attention
  *
  * <h2><center>&copy; Copyright (c) 2023 STMicroelectronics.
  * All rights reserved.</center></h2>
  *
  * This software component is licensed by ST under Ultimate Liberty license
  * SLA0044, the "License"; You may not use this file except in compliance with
  * the License. You may obtain a copy of the License at:
  *                             www.st.com/SLA0044
  *
  ******************************************************************************
  */
/* USER CODE END Header */

#include "FreeRTOS.h"
#include "task.h"
#include "main.h"
#include "cmsis_os.h"

/* USER CODE BEGIN Includes */
#include "lvgl.h"
#include "usbh_hid_gamepad.h"
/* USER CODE END Includes */

typedef StaticTask_t osStaticThreadDef_t;
typedef StaticQueue_t osStaticMessageQDef_t;
typedef StaticTimer_t osStaticTimerDef_t;
typedef StaticSemaphore_t osStaticSemaphoreDef_t;
typedef StaticEventGroup_t osStaticEventGroupDef_t;

/* USER CODE BEGIN PD */
osMessageQueueId_t moving_ctrl_queueHandle_2;
uint8_t moving_ctrl_queueBuffer_2[ 32 * sizeof( GamePadMessage ) ];
osStaticMessageQDef_t moving_ctrl_queueControlBlock_2;
const osMessageQueueAttr_t moving_ctrl_queue_attributes_2 = {
  .name = "moving_ctrl_queue_2",
  .cb_mem = &moving_ctrl_queueControlBlock_2,
  .cb_size = sizeof(moving_ctrl_queueControlBlock_2),
  .mq_mem = &moving_ctrl_queueBuffer_2,
  .mq_size = sizeof(moving_ctrl_queueBuffer_2)
};
/* USER CODE END PD */

/* Definitions for defaultTask */
osThreadId_t defaultTaskHandle;
uint32_t defaultTaskBuffer[ 128 ];
osStaticThreadDef_t defaultTaskControlBlock;
const osThreadAttr_t defaultTask_attributes = {
  .name = "defaultTask",
  .cb_mem = &defaultTaskControlBlock,
  .cb_size = sizeof(defaultTaskControlBlock),
  .stack_mem = &defaultTaskBuffer[0],
  .stack_size = sizeof(defaultTaskBuffer),
  .priority = (osPriority_t) osPriorityLow,
};
/* Definitions for imu_task */
osThreadId_t imu_taskHandle;
uint32_t imu_taskBuffer[ 128 ];
osStaticThreadDef_t imu_taskControlBlock;
const osThreadAttr_t imu_task_attributes = {
  .name = "imu_task",
  .cb_mem = &imu_taskControlBlock,
  .cb_size = sizeof(imu_taskControlBlock),
  .stack_mem = &imu_taskBuffer[0],
  .stack_size = sizeof(imu_taskBuffer),
  .priority = (osPriority_t) osPriorityAboveNormal,
};
/* Definitions for packet_tx_task */
osThreadId_t packet_tx_taskHandle;
uint32_t packet_tx_taskBuffer[ 128 ];
osStaticThreadDef_t packet_tx_taskControlBlock;
const osThreadAttr_t packet_tx_task_attributes = {
  .name = "packet_tx_task",
  .cb_mem = &packet_tx_taskControlBlock,
  .cb_size = sizeof(packet_tx_taskControlBlock),
  .stack_mem = &packet_tx_taskBuffer[0],
  .stack_size = sizeof(packet_tx_taskBuffer),
  .priority = (osPriority_t) osPriorityNormal,
};
/* Definitions for packet_rx_task */
osThreadId_t packet_rx_taskHandle;
uint32_t packet_rx_taskBuffer[ 256 ];
osStaticThreadDef_t packet_rx_taskControlBlock;
const osThreadAttr_t packet_rx_task_attributes = {
  .name = "packet_rx_task",
  .cb_mem = &packet_rx_taskControlBlock,
  .cb_size = sizeof(packet_rx_taskControlBlock),
  .stack_mem = &packet_rx_taskBuffer[0],
  .stack_size = sizeof(packet_rx_taskBuffer),
  .priority = (osPriority_t) osPriorityNormal,
};
/* Definitions for sbus_rx_task */
osThreadId_t sbus_rx_taskHandle;
uint32_t sbus_rx_taskBuffer[ 128 ];
osStaticThreadDef_t sbus_rx_taskControlBlock;
const osThreadAttr_t sbus_rx_task_attributes = {
  .name = "sbus_rx_task",
  .cb_mem = &sbus_rx_taskControlBlock,
  .cb_size = sizeof(sbus_rx_taskControlBlock),
  .stack_mem = &sbus_rx_taskBuffer[0],
  .stack_size = sizeof(sbus_rx_taskBuffer),
  .priority = (osPriority_t) osPriorityNormal,
};
/* Definitions for gui_task */
osThreadId_t gui_taskHandle;
uint32_t gui_taskBuffer[ 512 ];
osStaticThreadDef_t gui_taskControlBlock;
const osThreadAttr_t gui_task_attributes = {
  .name = "gui_task",
  .cb_mem = &gui_taskControlBlock,
  .cb_size = sizeof(gui_taskControlBlock),
  .stack_mem = &gui_taskBuffer[0],
  .stack_size = sizeof(gui_taskBuffer),
  .priority = (osPriority_t) osPriorityBelowNormal,
};
/* Definitions for app_task */
osThreadId_t app_taskHandle;
uint32_t app_taskBuffer[ 512 ];
osStaticThreadDef_t app_taskControlBlock;
const osThreadAttr_t app_task_attributes = {
  .name = "app_task",
  .cb_mem = &app_taskControlBlock,
  .cb_size = sizeof(app_taskControlBlock),
  .stack_mem = &app_taskBuffer[0],
  .stack_size = sizeof(app_taskBuffer),
  .priority = (osPriority_t) osPriorityNormal,
};
/* Definitions for bluetooth_task */
osThreadId_t bluetooth_taskHandle;
uint32_t bluetooth_taskBuffer[ 128 ];
osStaticThreadDef_t bluetooth_taskControlBlock;
const osThreadAttr_t bluetooth_task_attributes = {
  .name = "bluetooth_task",
  .cb_mem = &bluetooth_taskControlBlock,
  .cb_size = sizeof(bluetooth_taskControlBlock),
  .stack_mem = &bluetooth_taskBuffer[0],
  .stack_size = sizeof(bluetooth_taskBuffer),
  .priority = (osPriority_t) osPriorityNormal,
};
/* Definitions for packet_tx_queue */
osMessageQueueId_t packet_tx_queueHandle;
uint8_t packet_tx_queueBuffer[ 64 * sizeof( void* ) ];
osStaticMessageQDef_t packet_tx_queueControlBlock;
const osMessageQueueAttr_t packet_tx_queue_attributes = {
  .name = "packet_tx_queue",
  .cb_mem = &packet_tx_queueControlBlock,
  .cb_size = sizeof(packet_tx_queueControlBlock),
  .mq_mem = &packet_tx_queueBuffer,
  .mq_size = sizeof(packet_tx_queueBuffer)
};
/* Definitions for lvgl_event_queue */
osMessageQueueId_t lvgl_event_queueHandle;
uint8_t lvgl_event_queueBuffer[ 16 * sizeof( void* ) ];
osStaticMessageQDef_t lvgl_event_queueControlBlock;
const osMessageQueueAttr_t lvgl_event_queue_attributes = {
  .name = "lvgl_event_queue",
  .cb_mem = &lvgl_event_queueControlBlock,
  .cb_size = sizeof(lvgl_event_queueControlBlock),
  .mq_mem = &lvgl_event_queueBuffer,
  .mq_size = sizeof(lvgl_event_queueBuffer)
};
/* Definitions for moving_ctrl_queue */
osMessageQueueId_t moving_ctrl_queueHandle;
uint8_t moving_ctrl_queueBuffer[ 32 * sizeof( char ) ];
osStaticMessageQDef_t moving_ctrl_queueControlBlock;
const osMessageQueueAttr_t moving_ctrl_queue_attributes = {
  .name = "moving_ctrl_queue",
  .cb_mem = &moving_ctrl_queueControlBlock,
  .cb_size = sizeof(moving_ctrl_queueControlBlock),
  .mq_mem = &moving_ctrl_queueBuffer,
  .mq_size = sizeof(moving_ctrl_queueBuffer)
};
/* Definitions for bluetooth_tx_queue */
osMessageQueueId_t bluetooth_tx_queueHandle;
uint8_t bluetooth_tx_queueBuffer[ 8 * 8 ];
osStaticMessageQDef_t bluetooth_tx_queueControlBlock;
const osMessageQueueAttr_t bluetooth_tx_queue_attributes = {
  .name = "bluetooth_tx_queue",
  .cb_mem = &bluetooth_tx_queueControlBlock,
  .cb_size = sizeof(bluetooth_tx_queueControlBlock),
  .mq_mem = &bluetooth_tx_queueBuffer,
  .mq_size = sizeof(bluetooth_tx_queueBuffer)
};
/* Definitions for button_timer */
osTimerId_t button_timerHandle;
osStaticTimerDef_t button_timerControlBlock;
const osTimerAttr_t button_timer_attributes = {
  .name = "button_timer",
  .cb_mem = &button_timerControlBlock,
  .cb_size = sizeof(button_timerControlBlock),
};
/* Definitions for led_timer */
osTimerId_t led_timerHandle;
osStaticTimerDef_t led_timerControlBlock;
const osTimerAttr_t led_timer_attributes = {
  .name = "led_timer",
  .cb_mem = &led_timerControlBlock,
  .cb_size = sizeof(led_timerControlBlock),
};
/* Definitions for lvgl_timer */
osTimerId_t lvgl_timerHandle;
osStaticTimerDef_t lvgl_timerControlBlock;
const osTimerAttr_t lvgl_timer_attributes = {
  .name = "lvgl_timer",
  .cb_mem = &lvgl_timerControlBlock,
  .cb_size = sizeof(lvgl_timerControlBlock),
};
/* Definitions for buzzer_timer */
osTimerId_t buzzer_timerHandle;
osStaticTimerDef_t buzzer_timerControlBlock;
const osTimerAttr_t buzzer_timer_attributes = {
  .name = "buzzer_timer",
  .cb_mem = &buzzer_timerControlBlock,
  .cb_size = sizeof(buzzer_timerControlBlock),
};
/* Definitions for battery_check_timer */
osTimerId_t battery_check_timerHandle;
osStaticTimerDef_t battery_check_timerControlBlock;
const osTimerAttr_t battery_check_timer_attributes = {
  .name = "battery_check_timer",
  .cb_mem = &battery_check_timerControlBlock,
  .cb_size = sizeof(battery_check_timerControlBlock),
};
/* Definitions for IMU_read_timer */
osTimerId_t IMU_read_timerHandle;
osStaticTimerDef_t IMU_read_timerControlBlock;
const osTimerAttr_t IMU_read_timer_attributes = {
  .name = "IMU_read_timer",
  .cb_mem = &IMU_read_timerControlBlock,
  .cb_size = sizeof(IMU_read_timerControlBlock),
};
/* Definitions for packet_tx_idle */
osSemaphoreId_t packet_tx_idleHandle;
osStaticSemaphoreDef_t packet_tx_ControlBlock;
const osSemaphoreAttr_t packet_tx_idle_attributes = {
  .name = "packet_tx_idle",
  .cb_mem = &packet_tx_ControlBlock,
  .cb_size = sizeof(packet_tx_ControlBlock),
};
/* Definitions for packet_rx_not_empty */
osSemaphoreId_t packet_rx_not_emptyHandle;
osStaticSemaphoreDef_t packet_rx_not_emptyControlBlock;
const osSemaphoreAttr_t packet_rx_not_empty_attributes = {
  .name = "packet_rx_not_empty",
  .cb_mem = &packet_rx_not_emptyControlBlock,
  .cb_size = sizeof(packet_rx_not_emptyControlBlock),
};
/* Definitions for mpu6050_data_ready */
osSemaphoreId_t mpu6050_data_readyHandle;
osStaticSemaphoreDef_t mpu6050_data_readyControlBlock;
const osSemaphoreAttr_t mpu6050_data_ready_attributes = {
  .name = "mpu6050_data_ready",
  .cb_mem = &mpu6050_data_readyControlBlock,
  .cb_size = sizeof(mpu6050_data_readyControlBlock),
};
/* Definitions for sbus_data_ready_01_ */
osSemaphoreId_t sbus_data_ready_01_Handle;
osStaticSemaphoreDef_t sbus_data_ready_01_ControlBlock;
const osSemaphoreAttr_t sbus_data_ready_01__attributes = {
  .name = "sbus_data_ready_01_",
  .cb_mem = &sbus_data_ready_01_ControlBlock,
  .cb_size = sizeof(sbus_data_ready_01_ControlBlock),
};
/* Definitions for spi_tx_finished */
osSemaphoreId_t spi_tx_finishedHandle;
osStaticSemaphoreDef_t spi_tx_finishedControlBlock;
const osSemaphoreAttr_t spi_tx_finished_attributes = {
  .name = "spi_tx_finished",
  .cb_mem = &spi_tx_finishedControlBlock,
  .cb_size = sizeof(spi_tx_finishedControlBlock),
};
/* Definitions for bluetooth_tx_idle */
osSemaphoreId_t bluetooth_tx_idleHandle;
osStaticSemaphoreDef_t bluetooth_tx_idleControlBlock;
const osSemaphoreAttr_t bluetooth_tx_idle_attributes = {
  .name = "bluetooth_tx_idle",
  .cb_mem = &bluetooth_tx_idleControlBlock,
  .cb_size = sizeof(bluetooth_tx_idleControlBlock),
};
/* Definitions for sbus_data_ready_event_ */
osEventFlagsId_t sbus_data_ready_event_Handle;
osStaticEventGroupDef_t sbus_data_ready_event_ControlBlock;
const osEventFlagsAttr_t sbus_data_ready_event__attributes = {
  .name = "sbus_data_ready_event_",
  .cb_mem = &sbus_data_ready_event_ControlBlock,
  .cb_size = sizeof(sbus_data_ready_event_ControlBlock),
};

void StartDefaultTask(void *argument);
void imu_task_entry(void *argument);
void packet_tx_task_entry(void *argument);
void packet_rx_task_entry(void *argument);
void sbus_rx_task_entry(void *argument);
void gui_task_entry(void *argument);
void app_task_entry(void *argument);
void bluetooth_task_entry(void *argument);
void button_timer_callback(void *argument);
void led_timer_callback(void *argument);
void lvgl_timer_callback(void *argument);
void buzzer_timer_callback(void *argument);
void battery_check_timer_callback(void *argument);
void IMU_read_timer_callback(void *argument);

extern void MX_USB_HOST_Init(void);
void MX_FREERTOS_Init(void); /* (MISRA C 2004 rule 8.1) */

/* Hook prototypes */
void vApplicationIdleHook(void);
void vApplicationTickHook(void);

/* USER CODE BEGIN 2 */
void vApplicationIdleHook( void )
{
    /* vApplicationIdleHook() will only be called if configUSE_IDLE_HOOK is set
    to 1 in FreeRTOSConfig.h. It will be called on each iteration of the idle
    task. It is essential that code added to this hook function never attempts
    to block in any way (for example, call xQueueReceive() with a block time
    specified, or call vTaskDelay()). If the application makes use of the
    vTaskDelete() API function (as this demo application does) then it is also
    important that vApplicationIdleHook() is permitted to return to its calling
    function, because it is the responsibility of the idle task to clean up
    memory allocated by the kernel to any task that has since been deleted. */
}
/* USER CODE END 2 */

/* USER CODE BEGIN 3 */
void vApplicationTickHook( void )
{
    /* This function will be called by each tick interrupt if
    configUSE_TICK_HOOK is set to 1 in FreeRTOSConfig.h. User code can be
    added here, but the tick hook is called from an interrupt context, so
    code must not attempt to block, and only the interrupt safe FreeRTOS API
    functions can be used (those that end in FromISR()). */
    lv_tick_inc(1);
}
/* USER CODE END 3 */

void MX_FREERTOS_Init(void) {

  /* Create the semaphores(s) */
  /* creation of packet_tx_idle */
  packet_tx_idleHandle = osSemaphoreNew(1, 1, &packet_tx_idle_attributes);

  /* creation of packet_rx_not_empty */
  packet_rx_not_emptyHandle = osSemaphoreNew(1, 1, &packet_rx_not_empty_attributes);

  /* creation of mpu6050_data_ready */
  mpu6050_data_readyHandle = osSemaphoreNew(1, 1, &mpu6050_data_ready_attributes);

  /* creation of sbus_data_ready_01_ */
  sbus_data_ready_01_Handle = osSemaphoreNew(1, 1, &sbus_data_ready_01__attributes);

  /* creation of spi_tx_finished */
  spi_tx_finishedHandle = osSemaphoreNew(1, 1, &spi_tx_finished_attributes);

  /* creation of bluetooth_tx_idle */
  bluetooth_tx_idleHandle = osSemaphoreNew(1, 1, &bluetooth_tx_idle_attributes);

  /* Create the timer(s) */
  /* creation of button_timer */
  button_timerHandle = osTimerNew(button_timer_callback, osTimerPeriodic, NULL, &button_timer_attributes);

  /* creation of led_timer */
  led_timerHandle = osTimerNew(led_timer_callback, osTimerPeriodic, NULL, &led_timer_attributes);

  /* creation of lvgl_timer */
  lvgl_timerHandle = osTimerNew(lvgl_timer_callback, osTimerPeriodic, NULL, &lvgl_timer_attributes);

  /* creation of buzzer_timer */
  buzzer_timerHandle = osTimerNew(buzzer_timer_callback, osTimerPeriodic, NULL, &buzzer_timer_attributes);

  /* creation of battery_check_timer */
  battery_check_timerHandle = osTimerNew(battery_check_timer_callback, osTimerPeriodic, NULL, &battery_check_timer_attributes);

  /* creation of IMU_read_timer */
  IMU_read_timerHandle = osTimerNew(IMU_read_timer_callback, osTimerPeriodic, NULL, &IMU_read_timer_attributes);

  /* Create the queue(s) */
  /* creation of packet_tx_queue */
  packet_tx_queueHandle = osMessageQueueNew (64, sizeof(void*), &packet_tx_queue_attributes);

  /* creation of lvgl_event_queue */
  lvgl_event_queueHandle = osMessageQueueNew (16, sizeof(void*), &lvgl_event_queue_attributes);

  /* creation of moving_ctrl_queue */
  moving_ctrl_queueHandle = osMessageQueueNew (32, sizeof(char), &moving_ctrl_queue_attributes);

  /* creation of bluetooth_tx_queue */
  bluetooth_tx_queueHandle = osMessageQueueNew (8, 8, &bluetooth_tx_queue_attributes);

  /* USER CODE BEGIN RTOS_QUEUES */
    /* add queues, ... */
    moving_ctrl_queueHandle_2 = osMessageQueueNew (32, sizeof(GamePadMessage), &moving_ctrl_queue_attributes_2);
  /* USER CODE END RTOS_QUEUES */

  /* Create the thread(s) */
  /* creation of defaultTask */
  defaultTaskHandle = osThreadNew(StartDefaultTask, NULL, &defaultTask_attributes);

  /* creation of imu_task */
  imu_taskHandle = osThreadNew(imu_task_entry, NULL, &imu_task_attributes);

  /* creation of packet_tx_task */
  packet_tx_taskHandle = osThreadNew(packet_tx_task_entry, NULL, &packet_tx_task_attributes);

  /* creation of packet_rx_task */
  packet_rx_taskHandle = osThreadNew(packet_rx_task_entry, NULL, &packet_rx_task_attributes);

  /* creation of sbus_rx_task */
  sbus_rx_taskHandle = osThreadNew(sbus_rx_task_entry, NULL, &sbus_rx_task_attributes);

  /* creation of gui_task */
  gui_taskHandle = osThreadNew(gui_task_entry, NULL, &gui_task_attributes);

  /* creation of app_task */
  app_taskHandle = osThreadNew(app_task_entry, NULL, &app_task_attributes);

  /* creation of bluetooth_task */
  bluetooth_taskHandle = osThreadNew(bluetooth_task_entry, NULL, &bluetooth_task_attributes);

  /* Create the event(s) */
  /* creation of sbus_data_ready_event_ */
  sbus_data_ready_event_Handle = osEventFlagsNew(&sbus_data_ready_event__attributes);

}

void StartDefaultTask(void *argument)
{
  /* init code for USB_HOST */
  MX_USB_HOST_Init();
    for(;;) {
        osDelay(1);
    }
}

__weak void imu_task_entry(void *argument)
{
    for(;;) {
        osDelay(1);
    }
}

__weak void packet_tx_task_entry(void *argument)
{
    for(;;) {
        osDelay(1);
    }
}

__weak void packet_rx_task_entry(void *argument)
{
    for(;;) {
        osDelay(1);
    }
}

__weak void sbus_rx_task_entry(void *argument)
{
    for(;;) {
        osDelay(1);
    }
}

__weak void gui_task_entry(void *argument)
{
  for(;;)
  {
    osDelay(1);
  }
}

__weak void app_task_entry(void *argument)
{
  for(;;)
  {
    osDelay(1);
  }
}

__weak void bluetooth_task_entry(void *argument)
{
  for(;;)
  {
    osDelay(1);
  }
}

/* button_timer_callback function */
__weak void button_timer_callback(void *argument)
{
}

/* led_timer_callback function */
__weak void led_timer_callback(void *argument)
{
}

/* lvgl_timer_callback function */
__weak void lvgl_timer_callback(void *argument)
{
}

/* buzzer_timer_callback function */
__weak void buzzer_timer_callback(void *argument)
{
}

/* battery_check_timer_callback function */
__weak void battery_check_timer_callback(void *argument)
{
}

/* IMU_read_timer_callback function */
__weak void IMU_read_timer_callback(void *argument)
{
}
